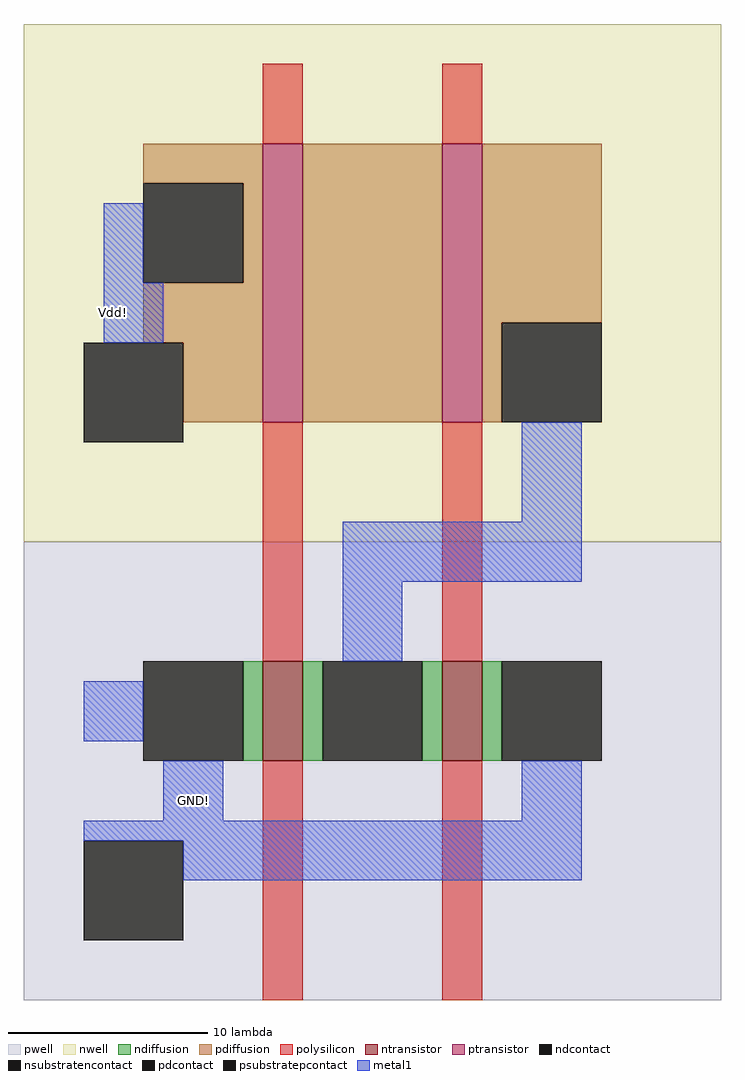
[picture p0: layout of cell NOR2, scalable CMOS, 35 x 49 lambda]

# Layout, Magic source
magic
tech scmos
<< nwell >>
rect -15 -16 20 10
<< pwell >>
rect -15 -39 20 -16
<< ntransistor >>
rect -3 -27 -1 -22
rect 6 -27 8 -22
<< ptransistor >>
rect -3 -10 -1 4
rect 6 -10 8 4
<< ndiffusion >>
rect -4 -27 -3 -22
rect -1 -27 0 -22
rect 5 -27 6 -22
rect 8 -27 9 -22
<< pdiffusion >>
rect -9 2 -3 4
rect -4 -3 -3 2
rect -9 -6 -3 -3
rect -7 -10 -3 -6
rect -1 -10 6 4
rect 8 -5 14 4
rect 8 -10 9 -5
<< ndcontact >>
rect -9 -27 -4 -22
rect 0 -27 5 -22
rect 9 -27 14 -22
<< pdcontact >>
rect -9 -3 -4 2
rect 9 -10 14 -5
<< psubstratepcontact >>
rect -12 -36 -7 -31
<< nsubstratencontact >>
rect -12 -11 -7 -6
<< polysilicon >>
rect -3 4 -1 8
rect 6 4 8 8
rect -3 -22 -1 -10
rect 6 -22 8 -10
rect -3 -39 -1 -27
rect 6 -39 8 -27
<< metal1 >>
rect -11 -3 -9 1
rect -11 -6 -8 -3
rect 10 -15 13 -10
rect 1 -18 13 -15
rect 1 -22 4 -18
rect -12 -26 -9 -23
rect -8 -30 -5 -27
rect 10 -30 13 -27
rect -12 -31 13 -30
rect -7 -33 13 -31
<< labels >>
rlabel metal1 -11 -6 -10 -3 1 Vdd!
rlabel metal1 -8 -30 -5 -28 1 GND!
<< end >>
